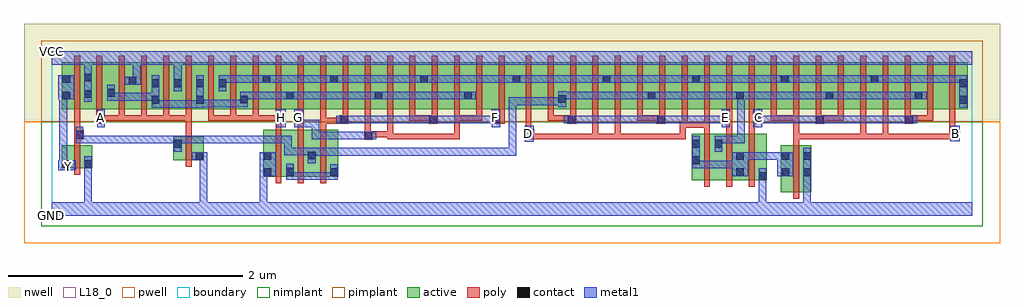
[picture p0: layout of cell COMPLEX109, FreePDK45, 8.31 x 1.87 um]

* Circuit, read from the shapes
.subckt COMPLEX109 A B C D E F G GND H VCC Y
M1 GND n1 Y VSUBS nfet w=0.2u l=0.05u
M2 GND A n1 VSUBS nfet w=0.2u l=0.05u
M3 n2 H GND VSUBS nfet w=0.4u l=0.05u
M4 n1 G n2 VSUBS nfet w=0.4u l=0.05u
M5 n2 F n1 VSUBS nfet w=0.4u l=0.05u
M6 n1 D n3 VSUBS nfet w=0.4u l=0.05u
M7 n3 E n1 VSUBS nfet w=0.4u l=0.05u
M8 GND C n3 VSUBS nfet w=0.4u l=0.05u
M9 GND B n3 VSUBS nfet w=0.4u l=0.05u
M10 VCC n1 Y n4 pfet w=0.4u l=0.05u
M11 n5 A VCC n4 pfet w=0.4u l=0.05u m=5
M12 n6 H n5 n4 pfet w=0.4u l=0.05u m=4
M13 n7 G n5 n4 pfet w=0.4u l=0.05u
M14 n6 F n7 n4 pfet w=0.4u l=0.05u
M15 n8 F n6 n4 pfet w=0.4u l=0.05u
M16 n5 G n8 n4 pfet w=0.4u l=0.05u
M17 n9 G n5 n4 pfet w=0.4u l=0.05u
M18 n6 F n9 n4 pfet w=0.4u l=0.05u
M19 n10 F n6 n4 pfet w=0.4u l=0.05u
M20 n5 G n10 n4 pfet w=0.4u l=0.05u
M21 n11 G n5 n4 pfet w=0.4u l=0.05u
M22 n6 F n11 n4 pfet w=0.4u l=0.05u
M23 n12 D n6 n4 pfet w=0.4u l=0.05u
M24 n1 E n12 n4 pfet w=0.4u l=0.05u
M25 n13 E n1 n4 pfet w=0.4u l=0.05u
M26 n6 D n13 n4 pfet w=0.4u l=0.05u
M27 n14 D n6 n4 pfet w=0.4u l=0.05u
M28 n1 E n14 n4 pfet w=0.4u l=0.05u
M29 n15 E n1 n4 pfet w=0.4u l=0.05u
M30 n6 D n15 n4 pfet w=0.4u l=0.05u
M31 n16 D n6 n4 pfet w=0.4u l=0.05u
M32 n1 E n16 n4 pfet w=0.4u l=0.05u
M33 n17 C n1 n4 pfet w=0.4u l=0.05u
M34 n6 B n17 n4 pfet w=0.4u l=0.05u
M35 n18 B n6 n4 pfet w=0.4u l=0.05u
M36 n1 C n18 n4 pfet w=0.4u l=0.05u
M37 n19 C n1 n4 pfet w=0.4u l=0.05u
M38 n6 B n19 n4 pfet w=0.4u l=0.05u
M39 n20 B n6 n4 pfet w=0.4u l=0.05u
M40 n1 C n20 n4 pfet w=0.4u l=0.05u
M41 n21 C n1 n4 pfet w=0.4u l=0.05u
M42 n6 B n21 n4 pfet w=0.4u l=0.05u
.ends

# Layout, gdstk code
import gdstk
lib = gdstk.Library(unit=1e-6, precision=1e-09)
def R(c, l, rs):  # rectangles x0, y0, x1, y1
    for r in rs: c.add(gdstk.rectangle(r[:2], r[2:], *l))
def A(c, l, x, y, w, h, nx, ny, dx, dy):  # array of equal rectangles
    R(c, l, [(x+i*dx, y+j*dy, x+i*dx+w, y+j*dy+h) for i in range(nx) for j in range(ny)])
active = (1, 0)
pwell = (2, 0)
nwell = (3, 0)
nimplant = (4, 0)
pimplant = (5, 0)
poly = (9, 0)
contact = (10, 0)
metal1 = (11, 0)
L18_0 = (18, 0)
boundary = (235, 0)

complex109 = lib.new_cell('COMPLEX109')
A(complex109, active, 0.087, 0.907, 0.075, 0.293, 4, 1, 0.38, 0)
A(complex109, active, 0.847, 0.907, 0.265, 0.4, 3, 1, 0.19, 0)
A(complex109, active, 5.675, 0.907, 0.225, 0.4, 3, 1, 0.38, 0)
A(complex109, active, 5.825, 0.907, 0.23, 0.4, 3, 1, 0.38, 0)
A(complex109, active, 5.825, 0.907, 0.075, 0.163, 3, 1, 0.76, 0)
R(complex109, active, [(6.21,0.2,6.47,0.6), (6.21,0.2,6.285,0.6), (6.395,0.22,6.47,0.6), (5.45,0.3,5.525,0.7), (5.45,0.3,5.715,0.7), (5.64,0.3,5.9,0.7), (5.825,0.3,6.09,0.7), (5.825,0.3,5.9,0.597), (6.015,0.3,6.09,0.492), (5.64,0.33,5.715,0.65), (1.802,0.332,2.067,0.732), (1.802,0.332,1.877,0.547), (1.992,0.332,2.252,0.732), (1.992,0.332,2.067,0.492), (2.177,0.332,2.442,0.732), (2.367,0.335,2.442,0.492), (2.177,0.345,2.252,0.55), (0.087,0.402,0.162,0.602), (0.087,0.402,0.347,0.602), (0.272,0.402,0.347,0.602), (1.037,0.472,1.112,0.672), (1.037,0.472,1.297,0.672), (1.222,0.472,1.297,0.672), (0.087,0.907,0.347,1.307), (0.272,0.907,0.347,1.307), (0.272,0.907,0.542,1.307), (0.467,0.907,0.727,1.307), (0.652,0.907,0.922,1.307), (0.652,0.907,0.727,1.255), (1.037,0.907,1.112,1.307), (1.417,0.907,1.677,1.307), (1.417,0.907,1.492,1.2), (1.602,0.907,1.867,1.307), (1.602,0.907,1.677,1.07), (1.792,0.907,1.867,1.2), (1.792,0.907,2.067,1.307), (1.992,0.907,2.217,1.307), (1.992,0.907,2.067,1.07), (2.217,0.907,2.442,1.307), (2.367,0.907,2.442,1.2), (2.367,0.907,2.597,1.307), (2.597,0.907,2.822,1.307), (2.747,0.907,2.977,1.307), (2.747,0.907,2.822,1.07), (2.977,0.907,3.207,1.307), (3.132,0.907,3.207,1.2), (3.132,0.907,3.357,1.307), (3.357,0.907,3.582,1.307), (3.507,0.907,3.737,1.307), (3.507,0.907,3.582,1.07), (3.737,0.907,3.995,1.307), (3.92,0.907,3.995,1.2), (3.92,0.907,4.155,1.307), (4.155,0.907,4.385,1.307), (4.31,0.907,4.535,1.307), (4.31,0.907,4.385,1.07), (4.535,0.907,4.762,1.307), (4.687,0.907,4.762,1.2), (4.687,0.907,4.915,1.307), (4.915,0.907,5.145,1.307), (5.07,0.907,5.295,1.307), (5.07,0.907,5.145,1.07), (5.295,0.907,5.525,1.307), (5.45,0.907,5.525,1.2), (5.45,0.907,5.675,1.307), (6.205,0.907,6.28,1.2), (6.815,0.907,7.045,1.307), (6.97,0.907,7.045,1.2), (6.97,0.907,7.195,1.307), (7.195,0.907,7.42,1.307), (7.345,0.907,7.575,1.307), (7.575,0.907,7.8,1.307), (7.725,0.907,7.8,1.2)])
R(complex109, pwell, [(-0.235,-0.235,8.075,0.8)])
R(complex109, nwell, [(-0.235,0.8,8.075,1.635)])
R(complex109, nimplant, [(-0.09,-0.09,7.93,0.8)])
R(complex109, pimplant, [(-0.09,0.8,7.93,1.49)])
A(complex109, poly, 5.555, 0.245, 0.05, 0.51, 3, 1, 0.19, 0)
A(complex109, poly, 1.907, 0.277, 0.05, 0.51, 3, 1, 0.19, 0)
A(complex109, poly, 1.907, 0.737, 0.05, 0.095, 3, 1, 0.19, 0)
A(complex109, poly, 0.382, 0.807, 0.05, 0.095, 8, 1, 0.19, 0)
A(complex109, poly, 0.572, 0.807, 0.24, 0.05, 3, 1, 0.19, 0)
A(complex109, poly, 3.047, 0.807, 0.05, 0.095, 5, 1, 0.19, 0)
A(complex109, poly, 5.745, 0.807, 0.05, 0.095, 6, 1, 0.19, 0)
A(complex109, poly, 0.192, 0.852, 0.05, 0.51, 9, 1, 0.19, 0)
A(complex109, poly, 1.907, 0.852, 0.05, 0.51, 11, 1, 0.19, 0)
A(complex109, poly, 4.035, 0.852, 0.05, 0.51, 20, 1, 0.19, 0)
R(complex109, poly, [(6.315,0.145,6.365,0.655), (0.192,0.347,0.242,0.657), (1.142,0.417,1.192,0.727), (6.315,0.605,6.365,0.7), (0.192,0.607,0.242,0.702), (2.66,0.645,2.735,0.72), (2.857,0.65,2.907,0.7), (2.857,0.65,3.097,0.7), (2.857,0.65,2.907,0.72), (3.047,0.65,3.097,0.7), (3.047,0.65,3.097,0.7), (3.047,0.65,3.097,0.7), (3.047,0.65,3.345,0.7), (3.295,0.65,3.345,0.7), (3.295,0.65,3.477,0.7), (3.427,0.65,3.477,0.7), (3.427,0.65,3.477,0.7), (3.427,0.65,3.477,0.7), (3.427,0.65,3.477,0.857), (4.06,0.65,4.11,0.7), (4.06,0.65,4.11,0.7), (4.06,0.65,4.11,0.7), (4.06,0.65,4.242,0.7), (4.06,0.65,4.11,0.71), (4.192,0.65,4.242,0.7), (4.192,0.65,4.242,0.7), (4.192,0.65,4.242,0.7), (4.192,0.65,4.407,0.7), (4.357,0.65,4.407,0.7), (4.357,0.65,4.637,0.7), (4.587,0.65,4.637,0.7), (4.587,0.65,4.637,0.7), (4.587,0.65,4.637,0.7), (4.587,0.65,4.655,0.7), (4.605,0.65,4.655,0.7), (4.605,0.65,4.655,0.902), (4.605,0.65,4.77,0.7), (4.72,0.65,4.77,0.7), (4.72,0.65,4.845,0.7), (4.795,0.65,4.845,0.7), (4.795,0.65,4.845,0.902), (4.795,0.65,4.902,0.7), (4.852,0.65,4.902,0.7), (4.852,0.65,4.902,0.7), (4.852,0.65,4.902,0.7), (4.852,0.65,5.035,0.7), (4.985,0.65,5.035,0.7), (4.985,0.65,5.035,0.7), (4.985,0.65,5.035,0.7), (4.985,0.65,5.167,0.7), (5.117,0.65,5.167,0.7), (5.117,0.65,5.167,0.7), (5.117,0.65,5.167,0.7), (5.117,0.65,5.4,0.7), (5.35,0.65,5.4,0.7), (5.35,0.65,5.4,0.8), (6.315,0.65,6.365,0.7), (6.315,0.65,6.365,0.7), (6.315,0.65,6.365,0.7), (6.315,0.65,6.612,0.7), (6.315,0.65,6.365,0.857), (6.562,0.65,6.612,0.7), (6.562,0.65,6.612,0.7), (6.562,0.65,6.612,0.7), (6.562,0.65,6.802,0.7), (6.752,0.65,6.802,0.7), (6.752,0.65,6.802,0.7), (6.752,0.65,6.802,0.7), (6.752,0.65,6.935,0.7), (6.885,0.65,6.935,0.7), (6.885,0.65,6.935,0.7), (6.885,0.65,6.935,0.7), (6.885,0.65,6.935,0.7), (6.885,0.65,6.935,0.7), (6.885,0.65,7.125,0.7), (6.885,0.65,6.935,0.902), (7.075,0.65,7.125,0.7), (7.075,0.65,7.125,0.7), (7.075,0.65,7.125,0.7), (7.075,0.65,7.125,0.7), (7.075,0.65,7.125,0.7), (7.075,0.65,7.372,0.7), (7.075,0.65,7.125,0.902), (7.322,0.65,7.372,0.7), (7.322,0.65,7.372,0.7), (7.322,0.65,7.372,0.7), (7.322,0.65,7.562,0.7), (7.512,0.65,7.562,0.7), (7.512,0.65,7.695,0.7), (7.645,0.65,7.695,0.712), (7.645,0.65,7.695,0.7), (7.645,0.65,7.695,0.7), (7.645,0.65,7.695,0.7), (0.192,0.652,0.275,0.727), (4.035,0.66,4.11,0.735), (7.645,0.662,7.72,0.737), (2.667,0.67,2.717,0.72), (2.667,0.67,2.717,0.72), (2.667,0.67,2.717,0.72), (2.667,0.67,2.717,0.72), (2.667,0.67,2.907,0.72), (2.667,0.67,2.717,0.902), (2.857,0.67,2.907,0.72), (2.857,0.67,2.907,0.72), (2.857,0.67,2.907,0.72), (2.857,0.67,2.907,0.902), (0.192,0.677,0.242,0.727), (0.192,0.677,0.242,0.727), (0.192,0.677,0.242,0.902), (1.142,0.677,1.192,0.857), (4.035,0.685,4.085,0.902), (7.645,0.687,7.695,0.902), (5.555,0.705,5.605,0.8), (5.745,0.705,5.795,0.832), (5.935,0.705,5.985,0.832), (5.35,0.75,5.415,0.8), (5.365,0.75,5.605,0.8), (5.365,0.75,5.415,0.902), (5.555,0.75,5.605,0.8), (5.555,0.75,5.605,0.8), (5.555,0.75,5.605,0.8), (5.555,0.75,5.605,0.8), (5.555,0.75,5.605,0.8), (5.555,0.75,5.605,0.902), (0.382,0.782,0.457,0.857), (1.907,0.782,1.982,0.857), (1.907,0.782,1.957,0.832), (1.907,0.782,1.957,0.832), (2.072,0.782,2.147,0.857), (2.287,0.782,2.337,0.832), (2.287,0.782,2.337,0.832), (2.287,0.782,2.337,0.832), (2.287,0.782,2.502,0.832), (2.287,0.782,2.337,0.902), (2.452,0.782,2.527,0.857), (2.452,0.782,2.502,0.832), (2.452,0.782,2.502,0.832), (3.212,0.782,3.287,0.857), (3.75,0.782,3.857,0.857), (4.39,0.782,4.465,0.857), (5.15,0.782,5.225,0.857), (5.702,0.782,5.795,0.857), (5.745,0.782,5.795,0.832), (5.745,0.782,5.795,0.832), (5.935,0.782,6.042,0.857), (6.505,0.782,6.58,0.857), (7.265,0.782,7.34,0.857), (0.407,0.807,0.457,0.857), (0.407,0.807,0.457,0.857), (0.407,0.807,0.622,0.857), (0.572,0.807,0.622,0.857), (0.572,0.807,0.622,0.857), (0.572,0.807,0.622,0.857), (0.762,0.807,0.812,0.857), (0.762,0.807,0.812,0.857), (0.762,0.807,0.812,0.857), (0.952,0.807,1.002,0.857), (0.952,0.807,1.002,0.857), (0.952,0.807,1.002,0.857), (1.142,0.807,1.192,0.857), (1.142,0.807,1.192,0.857), (1.142,0.807,1.192,0.857), (1.332,0.807,1.382,0.857), (1.332,0.807,1.382,0.857), (1.332,0.807,1.382,0.857), (1.332,0.807,1.572,0.857), (1.522,0.807,1.572,0.857), (1.522,0.807,1.572,0.857), (1.522,0.807,1.572,0.857), (1.522,0.807,1.762,0.857), (1.712,0.807,1.762,0.857), (1.712,0.807,1.762,0.857), (1.712,0.807,1.762,0.857), (1.712,0.807,1.957,0.857), (1.907,0.807,1.957,0.902), (2.097,0.807,2.147,0.857), (2.097,0.807,2.147,0.857), (2.097,0.807,2.147,0.902), (2.477,0.807,2.527,0.902), (3.047,0.807,3.097,0.857), (3.047,0.807,3.097,0.857), (3.047,0.807,3.097,0.857), (3.047,0.807,3.262,0.857), (3.427,0.807,3.477,0.857), (3.427,0.807,3.667,0.857), (3.617,0.807,3.667,0.857), (3.617,0.807,3.667,0.857), (3.617,0.807,3.667,0.857), (4.225,0.807,4.275,0.857), (4.225,0.807,4.275,0.902), (4.225,0.807,4.44,0.857), (4.39,0.807,4.44,0.857), (4.39,0.807,4.44,0.857), (4.415,0.807,4.465,0.902), (4.985,0.807,5.035,0.857), (4.985,0.807,5.035,0.857), (4.985,0.807,5.035,0.857), (4.985,0.807,5.035,0.902), (4.985,0.807,5.2,0.857), (5.175,0.807,5.225,0.902), (5.935,0.807,5.985,0.857), (5.935,0.807,5.985,0.857), (6.125,0.807,6.175,0.857), (6.125,0.807,6.175,0.857), (6.125,0.807,6.175,0.857), (6.125,0.807,6.365,0.857), (6.315,0.807,6.365,0.857), (6.53,0.807,6.58,0.857), (6.53,0.807,6.58,0.857), (6.53,0.807,6.745,0.857), (6.695,0.807,6.745,0.857), (7.265,0.807,7.315,0.902), (7.29,0.807,7.505,0.857), (7.455,0.807,7.505,0.857), (7.455,0.807,7.505,0.857), (7.455,0.807,7.505,0.857), (7.455,0.807,7.505,0.902)])
A(complex109, contact, 5.83, 0.992, 0.065, 0.065, 3, 1, 0.76, 0)
A(complex109, contact, 0.852, 1.095, 0.065, 0.065, 4, 1, 0.19, 0)
R(complex109, contact, [(6.02,0.305,6.085,0.37), (1.807,0.337,1.872,0.402), (5.83,0.337,5.895,0.402), (6.215,0.337,6.28,0.402), (6.4,0.337,6.465,0.402), (2.372,0.34,2.437,0.405), (1.997,0.342,2.062,0.407), (0.092,0.407,0.157,0.472), (0.277,0.407,0.342,0.472), (5.455,0.44,5.52,0.505), (1.227,0.477,1.292,0.542), (1.807,0.477,1.872,0.542), (5.83,0.477,5.895,0.542), (6.215,0.477,6.28,0.542), (6.4,0.477,6.465,0.542), (2.182,0.48,2.247,0.545), (1.042,0.58,1.107,0.645), (5.455,0.58,5.52,0.645), (5.645,0.58,5.71,0.645), (2.665,0.65,2.73,0.715), (0.205,0.657,0.27,0.722), (4.04,0.665,4.105,0.73), (7.65,0.667,7.715,0.732), (0.387,0.787,0.452,0.852), (1.912,0.787,1.977,0.852), (2.077,0.787,2.142,0.852), (2.457,0.787,2.522,0.852), (3.217,0.787,3.282,0.852), (3.755,0.787,3.82,0.852), (4.395,0.787,4.46,0.852), (5.155,0.787,5.22,0.852), (5.707,0.787,5.772,0.852), (5.972,0.787,6.037,0.852), (6.51,0.787,6.575,0.852), (7.27,0.787,7.335,0.852), (0.852,0.955,0.917,1.02), (1.232,0.955,1.297,1.02), (7.73,0.955,7.795,1.02), (1.607,0.957,1.672,1.022), (4.315,0.96,4.38,1.025), (0.092,0.99,0.157,1.055), (1.997,0.992,2.062,1.057), (2.752,0.992,2.817,1.057), (3.512,0.992,3.577,1.057), (5.075,0.992,5.14,1.057), (0.277,1.005,0.342,1.07), (0.472,1.015,0.537,1.08), (7.73,1.095,7.795,1.16), (0.657,1.117,0.722,1.182), (0.092,1.13,0.157,1.195), (1.797,1.13,1.862,1.195), (2.372,1.13,2.437,1.195), (3.137,1.13,3.202,1.195), (3.925,1.13,3.99,1.195), (4.692,1.13,4.757,1.195), (5.455,1.13,5.52,1.195), (6.21,1.13,6.275,1.195), (6.975,1.13,7.04,1.195), (0.277,1.145,0.342,1.21)])
R(complex109, metal1, [(0,0,7.84,0.115), (0.277,0.05,0.342,0.115), (0.277,0.05,0.342,0.115), (0.277,0.05,0.342,0.115), (0.277,0.05,0.342,0.115), (0.277,0.05,0.342,0.115), (0.277,0.05,0.342,0.115), (0.277,0.05,0.342,0.437), (1.262,0.05,1.327,0.115), (1.262,0.05,1.327,0.115), (1.262,0.05,1.327,0.115), (1.262,0.05,1.327,0.115), (1.262,0.05,1.327,0.115), (1.262,0.05,1.327,0.115), (1.262,0.05,1.327,0.542), (1.772,0.05,1.837,0.115), (1.772,0.05,1.837,0.115), (1.772,0.05,1.837,0.402), (6.02,0.05,6.085,0.335), (6.4,0.05,6.465,0.115), (6.4,0.05,6.465,0.115), (6.4,0.05,6.465,0.367), (6.02,0.27,6.085,0.335), (6.02,0.27,6.085,0.335), (6.02,0.27,6.085,0.405), (6.4,0.302,6.465,0.577), (2.372,0.305,2.437,0.44), (1.997,0.307,2.062,0.372), (1.997,0.307,2.062,0.372), (1.997,0.307,2.235,0.372), (1.997,0.307,2.062,0.442), (2.17,0.307,2.235,0.372), (2.17,0.307,2.28,0.372), (2.215,0.307,2.28,0.372), (2.215,0.307,2.437,0.372), (1.772,0.337,1.907,0.542), (5.795,0.337,5.93,0.542), (6.18,0.337,6.315,0.542), (0.277,0.372,0.342,0.507), (0.057,0.387,0.207,0.472), (5.455,0.405,5.52,0.68), (5.455,0.405,5.635,0.47), (5.57,0.405,5.635,0.47), (5.57,0.405,5.692,0.47), (5.627,0.405,5.692,0.47), (5.627,0.405,5.86,0.47), (5.795,0.405,5.86,0.47), (5.795,0.405,5.86,0.47), (0.067,0.407,0.132,0.627), (2.182,0.445,2.247,0.58), (1.192,0.477,1.327,0.542), (5.865,0.477,6.067,0.542), (6.002,0.477,6.067,0.542), (6.002,0.477,6.067,0.542), (6.002,0.477,6.067,0.542), (6.002,0.477,6.245,0.542), (6.18,0.477,6.245,0.542), (6.18,0.477,6.245,0.542), (2.182,0.512,2.28,0.577), (2.215,0.512,2.28,0.577), (2.215,0.512,2.417,0.577), (2.352,0.512,2.417,0.577), (2.352,0.512,2.417,0.577), (2.352,0.512,2.417,0.577), (2.352,0.512,2.617,0.577), (2.552,0.512,2.617,0.577), (2.552,0.512,2.755,0.577), (2.69,0.512,2.755,0.577), (2.69,0.512,2.892,0.577), (2.827,0.512,2.892,0.577), (2.827,0.512,2.892,0.577), (2.827,0.512,2.892,0.577), (2.827,0.512,3.03,0.577), (2.965,0.512,3.03,0.577), (2.965,0.512,3.03,0.577), (2.965,0.512,3.03,0.577), (2.965,0.512,3.03,0.577), (2.965,0.512,3.03,0.577), (2.965,0.512,3.167,0.577), (3.102,0.512,3.167,0.577), (3.102,0.512,3.167,0.577), (3.102,0.512,3.167,0.577), (3.102,0.512,3.4,0.577), (3.335,0.512,3.4,0.577), (3.335,0.512,3.537,0.577), (3.472,0.512,3.537,0.577), (3.472,0.512,3.537,0.577), (3.472,0.512,3.537,0.577), (3.472,0.512,3.675,0.577), (3.61,0.512,3.675,0.577), (3.61,0.512,3.812,0.577), (3.747,0.512,3.812,0.577), (3.747,0.512,3.812,0.577), (3.747,0.512,3.812,0.577), (3.747,0.512,3.957,0.577), (3.892,0.512,3.957,0.577), (3.892,0.512,3.957,0.577), (3.892,0.512,3.957,0.577), (3.892,0.512,3.957,1.007), (1.98,0.515,2.045,0.68), (1.98,0.515,2.247,0.58), (1.042,0.545,1.107,0.68), (5.645,0.545,5.71,0.68), (0.067,0.562,0.132,0.627), (0.067,0.562,0.132,1.055), (0.205,0.615,0.447,0.68), (0.205,0.615,0.27,0.687), (0.382,0.615,0.447,0.68), (0.382,0.615,0.447,0.68), (0.382,0.615,0.447,0.68), (0.382,0.615,0.585,0.68), (0.52,0.615,0.585,0.68), (0.52,0.615,0.722,0.68), (0.657,0.615,0.722,0.68), (0.657,0.615,0.722,0.68), (0.657,0.615,0.722,0.68), (0.657,0.615,0.917,0.68), (0.852,0.615,0.917,0.68), (0.852,0.615,0.917,0.68), (0.852,0.615,0.917,0.68), (0.852,0.615,1.107,0.68), (1.042,0.615,1.107,0.68), (1.042,0.615,1.107,0.68), (1.042,0.615,1.107,0.68), (1.042,0.615,1.107,0.68), (1.042,0.615,1.35,0.68), (1.285,0.615,1.35,0.68), (1.285,0.615,1.35,0.68), (1.285,0.615,1.35,0.68), (1.285,0.615,1.487,0.68), (1.422,0.615,1.487,0.68), (1.422,0.615,1.487,0.68), (1.422,0.615,1.487,0.68), (1.422,0.615,1.625,0.68), (1.56,0.615,1.625,0.68), (1.56,0.615,1.625,0.68), (1.56,0.615,1.625,0.68), (1.56,0.615,1.89,0.68), (1.825,0.615,1.89,0.68), (1.825,0.615,1.89,0.68), (1.825,0.615,1.89,0.68), (1.825,0.615,2.045,0.68), (1.98,0.615,2.045,0.68), (1.98,0.615,2.045,0.68), (5.645,0.615,5.9,0.68), (5.835,0.615,5.9,0.68), (5.835,0.615,5.9,0.68), (5.835,0.615,5.902,0.68), (5.837,0.615,5.902,0.68), (5.837,0.615,5.902,0.68), (5.837,0.615,5.902,1.057), (0.205,0.622,0.27,0.687), (0.205,0.622,0.27,0.757), (4.027,0.63,4.105,0.767), (7.65,0.632,7.732,0.767), (2.32,0.65,2.417,0.715), (2.32,0.65,2.385,0.717), (2.352,0.65,2.417,0.715), (2.352,0.65,2.61,0.715), (2.545,0.65,2.61,0.715), (2.545,0.65,2.695,0.715), (2.63,0.65,2.765,0.715), (2.215,0.652,2.385,0.717), (2.215,0.652,2.28,0.817), (0.387,0.752,0.452,0.907), (1.912,0.752,1.992,0.907), (2.067,0.752,2.142,0.907), (2.077,0.752,2.235,0.817), (2.17,0.752,2.235,0.817), (2.17,0.752,2.28,0.817), (3.747,0.752,3.82,0.907), (5.707,0.752,5.772,0.907), (5.972,0.752,6.052,0.907), (2.422,0.787,2.557,0.852), (2.492,0.787,2.61,0.852), (2.545,0.787,2.61,0.852), (2.545,0.787,2.755,0.852), (2.69,0.787,2.755,0.852), (2.69,0.787,2.892,0.852), (2.827,0.787,2.892,0.852), (2.827,0.787,2.892,0.852), (2.827,0.787,2.892,0.852), (2.827,0.787,3.03,0.852), (2.965,0.787,3.03,0.852), (2.965,0.787,3.03,0.852), (2.965,0.787,3.03,0.852), (2.965,0.787,3.247,0.852), (3.182,0.787,3.247,0.852), (3.182,0.787,3.247,0.852), (3.182,0.787,3.317,0.852), (3.252,0.787,3.385,0.852), (3.32,0.787,3.385,0.852), (3.32,0.787,3.537,0.852), (3.472,0.787,3.537,0.852), (3.472,0.787,3.537,0.852), (3.472,0.787,3.537,0.852), (3.472,0.787,3.675,0.852), (3.61,0.787,3.675,0.852), (3.61,0.787,3.812,0.852), (3.747,0.787,3.812,0.852), (3.747,0.787,3.812,0.852), (4.36,0.787,4.495,0.852), (4.43,0.787,4.517,0.852), (4.452,0.787,4.517,0.852), (4.452,0.787,4.655,0.852), (4.59,0.787,4.655,0.852), (4.59,0.787,4.792,0.852), (4.727,0.787,4.792,0.852), (4.727,0.787,4.792,0.852), (4.727,0.787,4.792,0.852), (4.727,0.787,4.937,0.852), (4.872,0.787,4.937,0.852), (4.872,0.787,4.937,0.852), (4.872,0.787,4.937,0.852), (4.872,0.787,5.185,0.852), (5.12,0.787,5.185,0.852), (5.12,0.787,5.185,0.852), (5.12,0.787,5.255,0.852), (5.19,0.787,5.322,0.852), (5.257,0.787,5.322,0.852), (5.257,0.787,5.46,0.852), (5.395,0.787,5.46,0.852), (5.395,0.787,5.46,0.852), (5.395,0.787,5.46,0.852), (5.395,0.787,5.622,0.852), (5.557,0.787,5.622,0.852), (5.557,0.787,5.692,0.852), (5.627,0.787,5.692,0.852), (5.627,0.787,5.772,0.852), (5.987,0.787,6.067,0.852), (6.002,0.787,6.067,0.852), (6.002,0.787,6.205,0.852), (6.14,0.787,6.205,0.852), (6.14,0.787,6.205,0.852), (6.14,0.787,6.205,0.852), (6.14,0.787,6.382,0.852), (6.317,0.787,6.382,0.852), (6.317,0.787,6.447,0.852), (6.382,0.787,6.447,0.852), (6.382,0.787,6.447,0.852), (6.382,0.787,6.447,0.852), (6.382,0.787,6.54,0.852), (6.475,0.787,6.61,0.852), (6.545,0.787,6.61,0.852), (6.545,0.787,6.61,0.852), (6.545,0.787,6.8,0.852), (6.735,0.787,6.8,0.852), (6.735,0.787,6.827,0.852), (6.762,0.787,6.827,0.852), (6.762,0.787,6.937,0.852), (6.872,0.787,6.937,0.852), (6.872,0.787,7.075,0.852), (7.01,0.787,7.075,0.852), (7.01,0.787,7.075,0.852), (7.01,0.787,7.075,0.852), (7.01,0.787,7.242,0.852), (7.177,0.787,7.242,0.852), (7.177,0.787,7.3,0.852), (7.235,0.787,7.37,0.852), (0.852,0.92,0.917,0.985), (0.852,0.92,0.917,0.985), (0.852,0.92,0.917,1.195), (0.852,0.92,1.055,0.985), (0.99,0.92,1.055,0.985), (0.99,0.92,1.055,0.985), (0.99,0.92,1.055,0.985), (0.99,0.92,1.297,0.985), (1.232,0.92,1.297,1.195), (7.73,0.92,7.795,1.195), (1.232,0.922,1.297,0.987), (1.232,0.922,1.297,0.987), (1.232,0.922,1.487,0.987), (1.422,0.922,1.487,0.987), (1.422,0.922,1.487,0.987), (1.422,0.922,1.487,0.987), (1.422,0.922,1.672,0.987), (1.607,0.922,1.672,1.057), (4.315,0.925,4.38,1.06), (3.892,0.942,3.957,1.007), (3.892,0.942,4.092,1.007), (4.027,0.942,4.092,1.007), (4.027,0.942,4.23,1.007), (4.165,0.942,4.23,1.007), (4.165,0.942,4.23,1.007), (4.165,0.942,4.23,1.007), (4.165,0.942,4.38,1.007), (0.277,0.97,0.342,1.245), (0.472,0.98,0.537,1.115), (0.472,0.98,0.585,1.045), (0.52,0.98,0.585,1.045), (0.52,0.98,0.78,1.045), (0.715,0.98,0.78,1.045), (0.715,0.98,0.78,1.045), (0.715,0.98,0.78,1.045), (0.715,0.98,0.917,1.045), (0.057,0.99,0.192,1.195), (0.067,0.99,0.132,1.055), (0.067,0.99,0.132,1.055), (0.067,0.99,0.132,1.055), (0.067,0.99,0.132,1.055), (1.607,0.992,1.672,1.057), (1.607,0.992,1.672,1.057), (1.607,0.992,1.81,1.057), (1.745,0.992,1.81,1.057), (1.745,0.992,1.81,1.057), (1.745,0.992,1.81,1.057), (1.745,0.992,2.027,1.057), (1.962,0.992,2.097,1.057), (2.032,0.992,2.097,1.057), (2.032,0.992,2.097,1.057), (2.032,0.992,2.247,1.057), (2.182,0.992,2.247,1.057), (2.182,0.992,2.28,1.057), (2.215,0.992,2.28,1.057), (2.215,0.992,2.417,1.057), (2.352,0.992,2.417,1.057), (2.352,0.992,2.417,1.057), (2.352,0.992,2.417,1.057), (2.352,0.992,2.617,1.057), (2.552,0.992,2.617,1.057), (2.552,0.992,2.695,1.057), (2.63,0.992,2.695,1.057), (2.63,0.992,2.782,1.057), (2.717,0.992,2.852,1.057), (2.787,0.992,2.892,1.057), (2.827,0.992,2.892,1.057), (2.827,0.992,3.03,1.057), (2.965,0.992,3.03,1.057), (2.965,0.992,3.03,1.057), (2.965,0.992,3.03,1.057), (2.965,0.992,3.247,1.057), (3.182,0.992,3.247,1.057), (3.182,0.992,3.247,1.057), (3.182,0.992,3.247,1.057), (3.182,0.992,3.385,1.057), (3.32,0.992,3.385,1.057), (3.32,0.992,3.455,1.057), (3.39,0.992,3.455,1.057), (3.39,0.992,3.542,1.057), (3.477,0.992,3.612,1.057), (4.315,0.992,4.38,1.057), (4.315,0.992,4.38,1.057), (4.315,0.992,4.517,1.057), (4.452,0.992,4.517,1.057), (4.452,0.992,4.655,1.057), (4.59,0.992,4.655,1.057), (4.59,0.992,4.655,1.057), (4.59,0.992,4.655,1.057), (4.59,0.992,4.792,1.057), (4.727,0.992,4.792,1.057), (4.727,0.992,4.93,1.057), (4.865,0.992,4.93,1.057), (4.865,0.992,4.93,1.057), (4.865,0.992,4.93,1.057), (4.865,0.992,5.105,1.057), (5.04,0.992,5.175,1.057), (5.11,0.992,5.175,1.057), (5.11,0.992,5.175,1.057), (5.11,0.992,5.322,1.057), (5.257,0.992,5.322,1.057), (5.257,0.992,5.485,1.057), (5.42,0.992,5.485,1.057), (5.42,0.992,5.485,1.057), (5.42,0.992,5.485,1.057), (5.42,0.992,5.622,1.057), (5.557,0.992,5.622,1.057), (5.557,0.992,5.692,1.057), (5.627,0.992,5.692,1.057), (5.627,0.992,5.86,1.057), (5.795,0.992,5.86,1.057), (5.795,0.992,5.86,1.057), (5.795,0.992,5.93,1.057), (5.837,0.992,5.902,1.057), (5.837,0.992,5.902,1.057), (5.865,0.992,6.067,1.057), (6.002,0.992,6.067,1.057), (6.002,0.992,6.067,1.057), (6.002,0.992,6.067,1.057), (6.002,0.992,6.205,1.057), (6.14,0.992,6.205,1.057), (6.14,0.992,6.205,1.057), (6.14,0.992,6.205,1.057), (6.14,0.992,6.402,1.057), (6.337,0.992,6.402,1.057), (6.337,0.992,6.447,1.057), (6.382,0.992,6.447,1.057), (6.382,0.992,6.62,1.057), (6.555,0.992,6.62,1.057), (6.555,0.992,6.62,1.057), (6.555,0.992,6.69,1.057), (6.625,0.992,6.757,1.057), (6.692,0.992,6.757,1.057), (6.692,0.992,6.827,1.057), (6.762,0.992,6.827,1.057), (6.762,0.992,6.937,1.057), (6.872,0.992,6.937,1.057), (6.872,0.992,6.965,1.057), (6.9,0.992,6.965,1.057), (6.9,0.992,7.162,1.057), (7.097,0.992,7.162,1.057), (7.097,0.992,7.212,1.057), (7.147,0.992,7.212,1.057), (7.147,0.992,7.38,1.057), (7.315,0.992,7.38,1.057), (7.315,0.992,7.38,1.057), (7.315,0.992,7.45,1.057), (1.042,1.06,1.107,1.195), (1.422,1.06,1.487,1.195), (0.622,1.117,0.757,1.182), (0.692,1.117,0.757,1.35), (1.042,1.13,1.107,1.35), (1.422,1.13,1.487,1.195), (1.422,1.13,1.487,1.195), (1.422,1.13,1.672,1.195), (1.607,1.13,1.672,1.195), (1.607,1.13,1.672,1.195), (1.607,1.13,1.672,1.195), (1.607,1.13,1.827,1.195), (1.762,1.13,1.897,1.195), (1.832,1.13,1.897,1.195), (1.832,1.13,1.897,1.195), (1.832,1.13,2.097,1.195), (2.032,1.13,2.097,1.195), (2.032,1.13,2.097,1.195), (2.032,1.13,2.097,1.195), (2.032,1.13,2.235,1.195), (2.17,1.13,2.235,1.195), (2.17,1.13,2.28,1.195), (2.215,1.13,2.28,1.195), (2.215,1.13,2.402,1.195), (2.337,1.13,2.472,1.195), (2.407,1.13,2.472,1.195), (2.407,1.13,2.472,1.195), (2.407,1.13,2.61,1.195), (2.545,1.13,2.61,1.195), (2.545,1.13,2.755,1.195), (2.69,1.13,2.755,1.195), (2.69,1.13,2.755,1.195), (2.69,1.13,2.755,1.195), (2.69,1.13,2.892,1.195), (2.827,1.13,2.892,1.195), (2.827,1.13,3.03,1.195), (2.965,1.13,3.03,1.195), (2.965,1.13,3.03,1.195), (2.965,1.13,3.03,1.195), (2.965,1.13,3.167,1.195), (3.102,1.13,3.237,1.195), (3.172,1.13,3.237,1.195), (3.172,1.13,3.237,1.195), (3.172,1.13,3.385,1.195), (3.32,1.13,3.385,1.195), (3.32,1.13,3.537,1.195), (3.472,1.13,3.537,1.195), (3.472,1.13,3.537,1.195), (3.472,1.13,3.537,1.195), (3.472,1.13,3.675,1.195), (3.61,1.13,3.675,1.195), (3.61,1.13,3.675,1.195), (3.61,1.13,3.675,1.195), (3.61,1.13,3.955,1.195), (3.89,1.13,3.955,1.195), (3.89,1.13,3.955,1.195), (3.89,1.13,4.025,1.195), (3.96,1.13,4.092,1.195), (4.027,1.13,4.092,1.195), (4.027,1.13,4.242,1.195), (4.177,1.13,4.242,1.195), (4.177,1.13,4.242,1.195), (4.177,1.13,4.242,1.195), (4.177,1.13,4.38,1.195), (4.315,1.13,4.38,1.195), (4.315,1.13,4.482,1.195), (4.417,1.13,4.482,1.195), (4.417,1.13,4.517,1.195), (4.452,1.13,4.517,1.195), (4.452,1.13,4.632,1.195), (4.567,1.13,4.632,1.195), (4.567,1.13,4.722,1.195), (4.657,1.13,4.792,1.195), (4.727,1.13,4.792,1.195), (4.727,1.13,4.792,1.195), (4.727,1.13,4.937,1.195), (4.872,1.13,4.937,1.195), (4.872,1.13,4.937,1.195), (4.872,1.13,4.937,1.195), (4.872,1.13,5.075,1.195), (5.01,1.13,5.075,1.195), (5.01,1.13,5.322,1.195), (5.257,1.13,5.322,1.195), (5.257,1.13,5.322,1.195), (5.257,1.13,5.322,1.195), (5.257,1.13,5.485,1.195), (5.42,1.13,5.485,1.195), (5.42,1.13,5.485,1.195), (5.42,1.13,5.555,1.195), (5.49,1.13,5.635,1.195), (5.57,1.13,5.635,1.195), (5.57,1.13,5.71,1.195), (5.645,1.13,5.71,1.195), (5.645,1.13,5.847,1.195), (5.782,1.13,5.847,1.195), (5.782,1.13,5.847,1.195), (5.782,1.13,5.847,1.195), (5.782,1.13,6.067,1.195), (6.002,1.13,6.067,1.195), (6.002,1.13,6.067,1.195), (6.002,1.13,6.067,1.195), (6.002,1.13,6.24,1.195), (6.175,1.13,6.24,1.195), (6.175,1.13,6.24,1.195), (6.175,1.13,6.31,1.195), (6.245,1.13,6.382,1.195), (6.317,1.13,6.382,1.195), (6.317,1.13,6.472,1.195), (6.407,1.13,6.472,1.195), (6.407,1.13,6.62,1.195), (6.555,1.13,6.62,1.195), (6.555,1.13,6.62,1.195), (6.555,1.13,6.62,1.195), (6.555,1.13,6.757,1.195), (6.692,1.13,6.757,1.195), (6.692,1.13,6.827,1.195), (6.762,1.13,6.827,1.195), (6.762,1.13,6.937,1.195), (6.872,1.13,6.937,1.195), (6.872,1.13,7.005,1.195), (6.94,1.13,7.075,1.195), (7.01,1.13,7.075,1.195), (7.01,1.13,7.075,1.195), (7.01,1.13,7.212,1.195), (7.147,1.13,7.212,1.195), (7.147,1.13,7.38,1.195), (7.315,1.13,7.38,1.195), (7.315,1.13,7.38,1.195), (7.315,1.13,7.38,1.195), (7.315,1.13,7.517,1.195), (7.452,1.13,7.517,1.195), (7.452,1.13,7.517,1.195), (7.452,1.13,7.517,1.195), (7.452,1.13,7.795,1.195), (7.73,1.13,7.795,1.195), (7.73,1.13,7.795,1.195), (0.277,1.18,0.342,1.35), (0,1.285,7.84,1.4)])
R(complex109, L18_0, [(0,0,7.84,0.115), (0.277,0.05,0.342,0.115), (0.277,0.05,0.342,0.115), (0.277,0.05,0.342,0.115), (0.277,0.05,0.342,0.115), (0.277,0.05,0.342,0.115), (0.277,0.05,0.342,0.115), (0.277,0.05,0.342,0.437), (1.262,0.05,1.327,0.115), (1.262,0.05,1.327,0.115), (1.262,0.05,1.327,0.115), (1.262,0.05,1.327,0.115), (1.262,0.05,1.327,0.115), (1.262,0.05,1.327,0.115), (1.262,0.05,1.327,0.542), (1.772,0.05,1.837,0.115), (1.772,0.05,1.837,0.115), (1.772,0.05,1.837,0.402), (6.02,0.05,6.085,0.335), (6.4,0.05,6.465,0.115), (6.4,0.05,6.465,0.115), (6.4,0.05,6.465,0.367), (6.02,0.27,6.085,0.335), (6.02,0.27,6.085,0.335), (6.02,0.27,6.085,0.405), (6.4,0.302,6.465,0.577), (1.772,0.337,1.907,0.542), (0.277,0.372,0.342,0.507), (0.057,0.387,0.207,0.472), (0.107,0.387,0.172,0.452), (0.067,0.407,0.132,0.627), (1.192,0.477,1.327,0.542), (0.067,0.562,0.132,0.627), (0.067,0.562,0.132,1.055), (4.027,0.63,4.105,0.767), (7.65,0.632,7.732,0.767), (2.32,0.65,2.385,0.717), (2.32,0.65,2.417,0.715), (2.352,0.65,2.417,0.715), (2.352,0.65,2.61,0.715), (2.545,0.65,2.61,0.715), (2.545,0.65,2.695,0.715), (2.63,0.65,2.765,0.715), (2.215,0.652,2.28,0.817), (2.215,0.652,2.385,0.717), (4.027,0.667,4.092,0.732), (7.667,0.667,7.732,0.732), (0.387,0.752,0.452,0.907), (1.912,0.752,1.992,0.907), (2.067,0.752,2.142,0.907), (2.077,0.752,2.235,0.817), (2.17,0.752,2.235,0.817), (2.17,0.752,2.28,0.817), (3.747,0.752,3.82,0.907), (5.707,0.752,5.772,0.907), (5.972,0.752,6.052,0.907), (2.422,0.787,2.557,0.852), (2.492,0.787,2.61,0.852), (2.545,0.787,2.61,0.852), (2.545,0.787,2.755,0.852), (2.69,0.787,2.755,0.852), (2.69,0.787,2.892,0.852), (2.827,0.787,2.892,0.852), (2.827,0.787,2.892,0.852), (2.827,0.787,2.892,0.852), (2.827,0.787,3.03,0.852), (2.965,0.787,3.03,0.852), (2.965,0.787,3.03,0.852), (2.965,0.787,3.03,0.852), (2.965,0.787,3.247,0.852), (3.182,0.787,3.247,0.852), (3.182,0.787,3.247,0.852), (3.182,0.787,3.317,0.852), (3.252,0.787,3.385,0.852), (3.32,0.787,3.385,0.852), (3.32,0.787,3.537,0.852), (3.472,0.787,3.537,0.852), (3.472,0.787,3.537,0.852), (3.472,0.787,3.537,0.852), (3.472,0.787,3.675,0.852), (3.61,0.787,3.675,0.852), (3.61,0.787,3.812,0.852), (3.747,0.787,3.812,0.852), (3.747,0.787,3.812,0.852), (4.36,0.787,4.495,0.852), (4.43,0.787,4.517,0.852), (4.452,0.787,4.517,0.852), (4.452,0.787,4.655,0.852), (4.59,0.787,4.655,0.852), (4.59,0.787,4.792,0.852), (4.727,0.787,4.792,0.852), (4.727,0.787,4.792,0.852), (4.727,0.787,4.792,0.852), (4.727,0.787,4.937,0.852), (4.872,0.787,4.937,0.852), (4.872,0.787,4.937,0.852), (4.872,0.787,4.937,0.852), (4.872,0.787,5.185,0.852), (5.12,0.787,5.185,0.852), (5.12,0.787,5.185,0.852), (5.12,0.787,5.255,0.852), (5.19,0.787,5.322,0.852), (5.257,0.787,5.322,0.852), (5.257,0.787,5.46,0.852), (5.395,0.787,5.46,0.852), (5.395,0.787,5.46,0.852), (5.395,0.787,5.46,0.852), (5.395,0.787,5.622,0.852), (5.557,0.787,5.622,0.852), (5.557,0.787,5.692,0.852), (5.627,0.787,5.692,0.852), (5.627,0.787,5.772,0.852), (5.987,0.787,6.067,0.852), (6.002,0.787,6.067,0.852), (6.002,0.787,6.205,0.852), (6.14,0.787,6.205,0.852), (6.14,0.787,6.205,0.852), (6.14,0.787,6.205,0.852), (6.14,0.787,6.382,0.852), (6.317,0.787,6.382,0.852), (6.317,0.787,6.447,0.852), (6.382,0.787,6.447,0.852), (6.382,0.787,6.447,0.852), (6.382,0.787,6.447,0.852), (6.382,0.787,6.54,0.852), (6.475,0.787,6.61,0.852), (6.545,0.787,6.61,0.852), (6.545,0.787,6.61,0.852), (6.545,0.787,6.8,0.852), (6.735,0.787,6.8,0.852), (6.735,0.787,6.827,0.852), (6.762,0.787,6.827,0.852), (6.762,0.787,6.937,0.852), (6.872,0.787,6.937,0.852), (6.872,0.787,7.075,0.852), (7.01,0.787,7.075,0.852), (7.01,0.787,7.075,0.852), (7.01,0.787,7.075,0.852), (7.01,0.787,7.242,0.852), (7.177,0.787,7.242,0.852), (7.177,0.787,7.3,0.852), (7.235,0.787,7.37,0.852), (0.387,0.807,0.452,0.872), (1.927,0.807,1.992,0.872), (2.067,0.807,2.132,0.872), (3.747,0.807,3.812,0.872), (5.707,0.807,5.772,0.872), (5.987,0.807,6.052,0.872), (0.277,0.97,0.342,1.245), (0.057,0.99,0.192,1.195), (0.067,0.99,0.132,1.055), (0.067,0.99,0.132,1.055), (0.067,0.99,0.132,1.055), (0.067,0.99,0.132,1.055), (1.042,1.06,1.107,1.195), (0.622,1.117,0.757,1.182), (0.692,1.117,0.757,1.35), (1.042,1.13,1.107,1.35), (0.277,1.18,0.342,1.35), (0,1.285,7.84,1.4)])
R(complex109, boundary, [(0,0,7.84,1.4)])
complex109.add(gdstk.Label('A', (0.42,0.84), layer=11, texttype=0))
complex109.add(gdstk.Label('B', (7.7,0.7), layer=11, texttype=0))
complex109.add(gdstk.Label('C', (6.02,0.84), layer=11, texttype=0))
complex109.add(gdstk.Label('D', (4.06,0.7), layer=11, texttype=0))
complex109.add(gdstk.Label('E', (5.74,0.84), layer=11, texttype=0))
complex109.add(gdstk.Label('F', (3.78,0.84), layer=11, texttype=0))
complex109.add(gdstk.Label('G', (2.1,0.84), layer=11, texttype=0))
complex109.add(gdstk.Label('H', (1.96,0.84), layer=11, texttype=0))
complex109.add(gdstk.Label('Y', (0.14,0.42), layer=11, texttype=0))
complex109.add(gdstk.Label('VCC', (0,1.4), layer=11, texttype=0))
complex109.add(gdstk.Label('GND', (0,0), layer=11, texttype=0))

lib.write_gds('COMPLEX109.gds')
